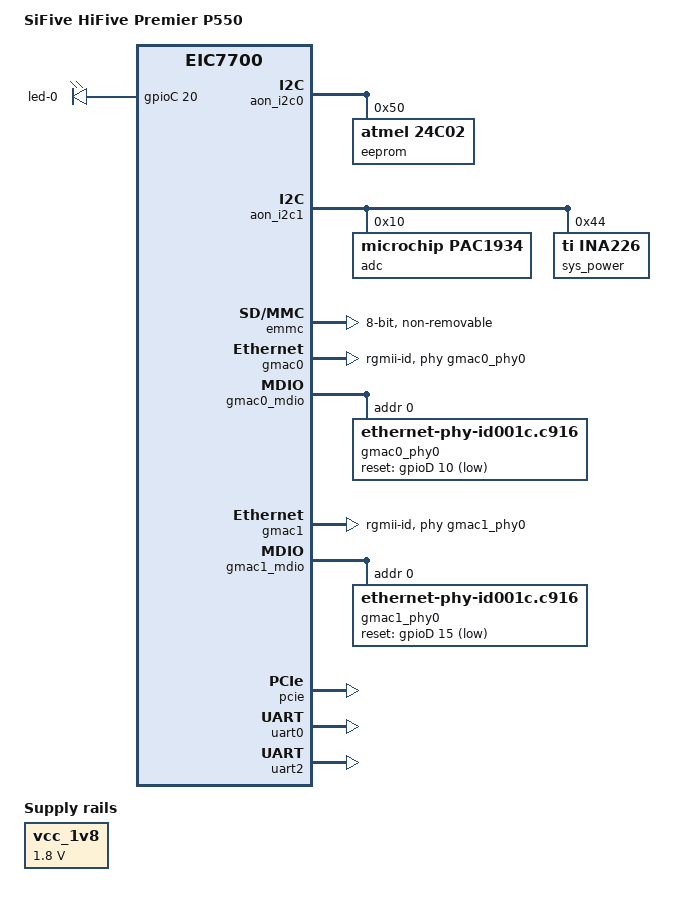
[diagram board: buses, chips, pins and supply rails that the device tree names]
// SPDX-License-Identifier: (GPL-2.0 OR MIT)
/*
 * Copyright (c) 2024, Beijing ESWIN Computing Technology Co., Ltd.
 */

/dts-v1/;

#include "eic7700.dtsi"
#include "eic7700-pinctrl.dtsi"
#include <dt-bindings/gpio/gpio.h>

/ {
	compatible = "sifive,hifive-premier-p550", "eswin,eic7700";
	model = "SiFive HiFive Premier P550";

	aliases {
		ethernet0 = &gmac0;
		ethernet1 = &gmac1;
		mmc0 = &emmc;
		serial0 = &uart0;
	};

	chosen {
		stdout-path = "serial0:115200n8";
	};

	leds {
		compatible = "gpio-leds";
		pinctrl-names = "default";
		pinctrl-0 = <&gpio84_pins>;

		led-0 {
			gpios = <&gpioC 20 GPIO_ACTIVE_HIGH>;
		};
	};

	vcc_1v8: regulator-vcc1v8 {
		compatible = "regulator-fixed";
		regulator-name = "vcc1v8";
		regulator-always-on;
		regulator-boot-on;
		regulator-min-microvolt = <1800000>;
		regulator-max-microvolt = <1800000>;
	};
};

&aon_i2c0 {
	status = "okay";

	eeprom@50 {
		compatible = "atmel,24c02";
		reg = <0x50>;
	};
};

&aon_i2c1 {
	status = "okay";

	adc@10 {
		compatible = "microchip,pac1934";
		reg = <0x10>;
		#address-cells = <1>;
		#size-cells = <0>;

		channel@1 {
			reg = <0x1>;
			shunt-resistor-micro-ohms = <1000>;
			label = "VDD_SOM";
		};

		channel@2 {
			reg = <0x2>;
			shunt-resistor-micro-ohms = <1000>;
			label = "VDD_SOC";
		};

		channel@3 {
			reg = <0x3>;
			shunt-resistor-micro-ohms = <1000>;
			label = "VDD_CPU";
		};

		channel@4 {
			reg = <0x4>;
			shunt-resistor-micro-ohms = <1000>;
			label = "VDD_LPDDR";
		};
	};

	power-sensor@44 {
		compatible = "ti,ina226";
		reg = <0x44>;
		#io-channel-cells = <1>;
		label = "sys_power";
		shunt-resistor = <1000>;
	};
};

&emmc {
	assigned-clocks = <&clk EIC7700_CLK_GATE_HSP_MSHC0_CORE_CLK>;
	assigned-clock-rates = <200000000>;
	bus-width = <8>;
	max-frequency = <200000000>;
	mmc-hs400-1_8v;
	non-removable;
	no-sd;
	no-sdio;
	status = "okay";
};

&gmac0 {
	phy-handle = <&gmac0_phy0>;
	phy-mode = "rgmii-id";
	pinctrl-names = "default";
	pinctrl-0 = <&gpio106_pins>;
	rx-internal-delay-ps = <20>;
	tx-internal-delay-ps = <100>;
	status = "okay";
};

&gmac0_mdio {
	gmac0_phy0: ethernet-phy@0 {
		compatible = "ethernet-phy-id001c.c916";
		reg = <0>;
		reset-gpios = <&gpioD 10 GPIO_ACTIVE_LOW>;
		reset-assert-us = <10000>;
		reset-deassert-us = <80000>;
	};
};

&gmac1 {
	phy-handle = <&gmac1_phy0>;
	phy-mode = "rgmii-id";
	pinctrl-names = "default";
	pinctrl-0 = <&gpio111_pins>;
	rx-internal-delay-ps = <200>;
	tx-internal-delay-ps = <2200>;
	status = "okay";
};

&gmac1_mdio {
	gmac1_phy0: ethernet-phy@0 {
		compatible = "ethernet-phy-id001c.c916";
		reg = <0>;
		reset-gpios = <&gpioD 15 GPIO_ACTIVE_LOW>;
		reset-assert-us = <10000>;
		reset-deassert-us = <80000>;
	};
};

&gpio84_pins {
	bias-disable;
	input-disable;
};

&osc {
	clock-frequency = <24000000>;
	clock-output-names = "osc_24m";
};

&pcie {
	pinctrl-names = "default";
	pinctrl-0 = <&pcie_pins>;
	status = "okay";
};

&pinctrl {
	vrgmii-supply = <&vcc_1v8>;
};

&uart0 {
	status = "okay";
	pinctrl-names = "default";
	pinctrl-0 = <&uart0_pins>;
};

&uart2 {
	status = "okay";
	pinctrl-names = "default";
	pinctrl-0 = <&uart2_pins>;
};
